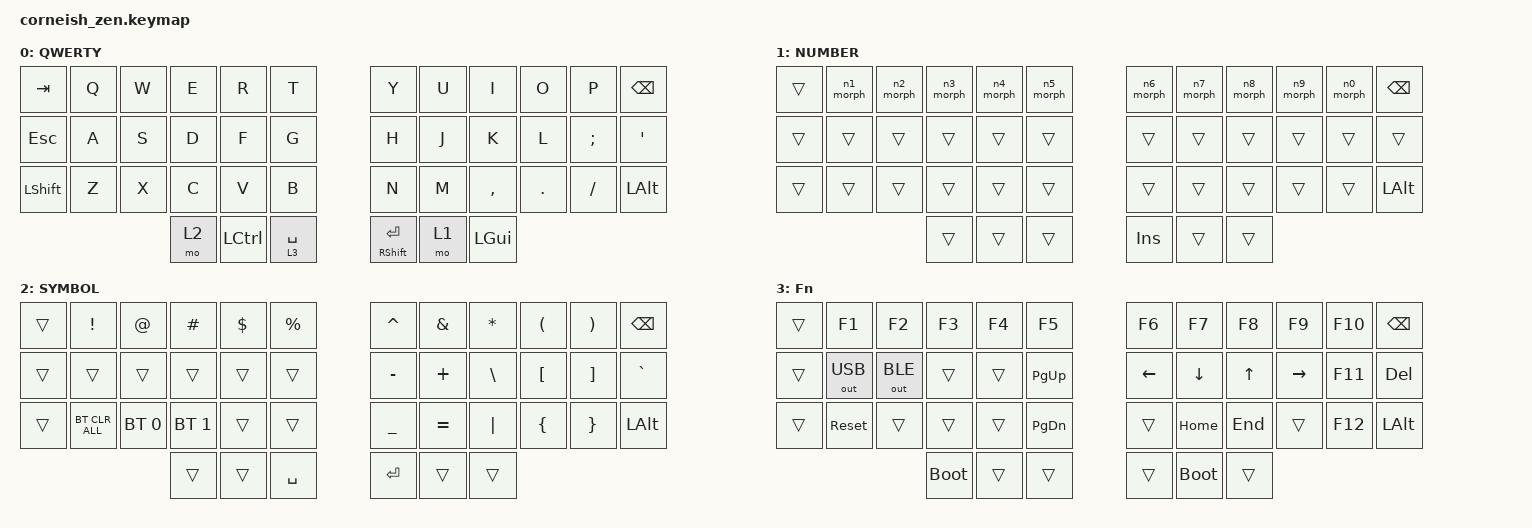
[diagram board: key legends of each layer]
/*
 * Copyright (c) 2020 The ZMK Contributors
 *
 * SPDX-License-Identifier: MIT
 */

#include <behaviors.dtsi>
#include <dt-bindings/zmk/bt.h>
#include <dt-bindings/zmk/keys.h>
#include <dt-bindings/zmk/outputs.h>

/ {
    chosen {
        zmk,matrix_transform = &default_transform;

        // zmk,matrix_transform = &five_column_transform;
    };
};

/ {
    behaviors {
        td0: td0 {
            compatible = "zmk,behavior-tap-dance";
            label = "TD0";
            #binding-cells = <0>;
            bindings = <&kp LEFT_SHIFT>, <&kp CAPS>;
        };

        // Number-layer digits stay digits even with Shift held
        n1_morph: n1_morph {
            compatible = "zmk,behavior-mod-morph";
            #binding-cells = <0>;
            bindings = <&kp N1>, <&kp N1>;
            mods = <(MOD_LSFT|MOD_RSFT)>;
        };

        n2_morph: n2_morph {
            compatible = "zmk,behavior-mod-morph";
            #binding-cells = <0>;
            bindings = <&kp N2>, <&kp N2>;
            mods = <(MOD_LSFT|MOD_RSFT)>;
        };

        n3_morph: n3_morph {
            compatible = "zmk,behavior-mod-morph";
            #binding-cells = <0>;
            bindings = <&kp N3>, <&kp N3>;
            mods = <(MOD_LSFT|MOD_RSFT)>;
        };

        n4_morph: n4_morph {
            compatible = "zmk,behavior-mod-morph";
            #binding-cells = <0>;
            bindings = <&kp N4>, <&kp N4>;
            mods = <(MOD_LSFT|MOD_RSFT)>;
        };

        n5_morph: n5_morph {
            compatible = "zmk,behavior-mod-morph";
            #binding-cells = <0>;
            bindings = <&kp N5>, <&kp N5>;
            mods = <(MOD_LSFT|MOD_RSFT)>;
        };

        n6_morph: n6_morph {
            compatible = "zmk,behavior-mod-morph";
            #binding-cells = <0>;
            bindings = <&kp N6>, <&kp N6>;
            mods = <(MOD_LSFT|MOD_RSFT)>;
        };

        n7_morph: n7_morph {
            compatible = "zmk,behavior-mod-morph";
            #binding-cells = <0>;
            bindings = <&kp N7>, <&kp N7>;
            mods = <(MOD_LSFT|MOD_RSFT)>;
        };

        n8_morph: n8_morph {
            compatible = "zmk,behavior-mod-morph";
            #binding-cells = <0>;
            bindings = <&kp N8>, <&kp N8>;
            mods = <(MOD_LSFT|MOD_RSFT)>;
        };

        n9_morph: n9_morph {
            compatible = "zmk,behavior-mod-morph";
            #binding-cells = <0>;
            bindings = <&kp N9>, <&kp N9>;
            mods = <(MOD_LSFT|MOD_RSFT)>;
        };

        n0_morph: n0_morph {
            compatible = "zmk,behavior-mod-morph";
            #binding-cells = <0>;
            bindings = <&kp N0>, <&kp N0>;
            mods = <(MOD_LSFT|MOD_RSFT)>;
        };
    };

    keymap {
        compatible = "zmk,keymap";

        default_layer {
            display-name = "QWERTY";

            // --------------------------------------------------------------------------------
            // |  TAB |  Q  |  W  |  E  |  R  |  T  |   |  Y  |  U   |  I  |  O  |  P  | BKSP |
            // | ESC  |  A  |  S  |  D  |  F  |  G  |   |  H  |  J   |  K  |  L  |  ;  |  '   | 
            // | SHFT |  Z  |  X  |  C  |  V  |  B  |   |  N  |  M   |  ,  |  .  |  /  | ALT  |
            //                    | RSE | CTRL| SPC |   | ENT | LWR  | GUI |

            bindings = <
&kp TAB    &kp Q  &kp W  &kp E     &kp R    &kp T          &kp Y        &kp U  &kp I      &kp O    &kp P     &kp BSPC
&kp ESC    &kp A  &kp S  &kp D     &kp F    &kp G          &kp H        &kp J  &kp K      &kp L    &kp SEMI  &kp SQT
&kp LSHIFT &kp Z  &kp X  &kp C     &kp V    &kp B          &kp N        &kp M  &kp COMMA  &kp DOT  &kp FSLH  &kp LALT
                         &mo 2     &kp LCTRL &lt 3 SPACE    &mt RSHIFT ENTER  &mo 1  &kp LGUI
            >;
        };

        lower_layer {
            display-name = "NUMBER";

            // -----------------------------------------------------------------------------------------
            // |  TAB |  1   |  2  |  3  |  4  |  5  |   |  6  |  7  |  8  |  9  |  0  | BKSP |
            // |      |      |     |     |     |     |   |     |     |     |     |     |      |
            // | SHFT |      |     |     |     |     |   |     |     |     |     |     |  ALT |
            //                     |     | GUI | SPC |   | ENT |PRSCR| ESC |

            bindings = <
&trans  &n1_morph         &n2_morph        &n3_morph           &n4_morph          &n5_morph           &n6_morph         &n7_morph         &n8_morph         &n9_morph         &n0_morph &kp BSPC
&trans  &trans           &trans          &trans             &trans            &trans             &trans           &trans           &trans           &trans           &trans   &trans
&trans  &trans           &trans          &trans             &trans            &trans             &trans           &trans           &trans           &trans           &trans   &kp LALT
                                         &trans             &trans            &trans             &kp INS          &trans           &trans
            >;
        };

        raise_layer {
            display-name = "SYMBOL";

            // -----------------------------------------------------------------------------------------
            // |  ~   |  !  |  @  |  #  |  $  |  %  |   |  ^  |  &  |  *  |  (  |  )  | BKSP |
            // | CTRL |     |     |     |     |     |   |  _  |  =  |  \  |  [  |  ]  |  ~   |
            // | SHFT | BTCL| BT0 | BT1 |     |     |   |  -  |  +  | "|" |  {  |  }  | ALT  |
            //                    |     | GUI | SPC |   | ENT |     | ESC |

            bindings = <
&trans     &kp EXCL  &kp AT   &kp HASH   &kp DLLR   &kp PRCNT     &kp CARET  &kp AMPS   &kp ASTRK  &kp LPAR  &kp RPAR  &kp BSPC
&trans     &trans    &trans   &trans     &trans     &trans        &kp MINUS  &kp PLUS   &kp BSLH   &kp LBKT  &kp RBKT  &kp GRAVE
&trans     &bt BT_CLR_ALL  &bt BT_SEL 0  &bt BT_SEL 1  &trans        &trans              &kp UNDER  &kp EQUAL  &kp PIPE   &kp LBRC  &kp RBRC  &kp LALT
                                       &trans    &trans       &kp SPACE  &kp RET    &trans     &trans
            >;
        };
        layer_3 {
            display-name = "Fn";
            bindings = <
&trans  &kp F1        &kp F2        &kp F3       &kp F4      &kp F5         &kp F6       &kp F7         &kp F8    &kp F9     &kp F10    &kp BSPC
&trans  &out OUT_USB  &out OUT_BLE  &trans       &trans      &kp PG_UP      &kp LEFT     &kp DOWN       &kp UP    &kp RIGHT  &kp F11    &kp DEL
&trans  &sys_reset    &trans        &trans       &trans      &kp PG_DN      &trans       &kp HOME       &kp END   &trans     &kp F12    &kp LALT
                                    &bootloader  &trans      &trans         &trans       &bootloader    &trans
            >;
        };
    };
};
